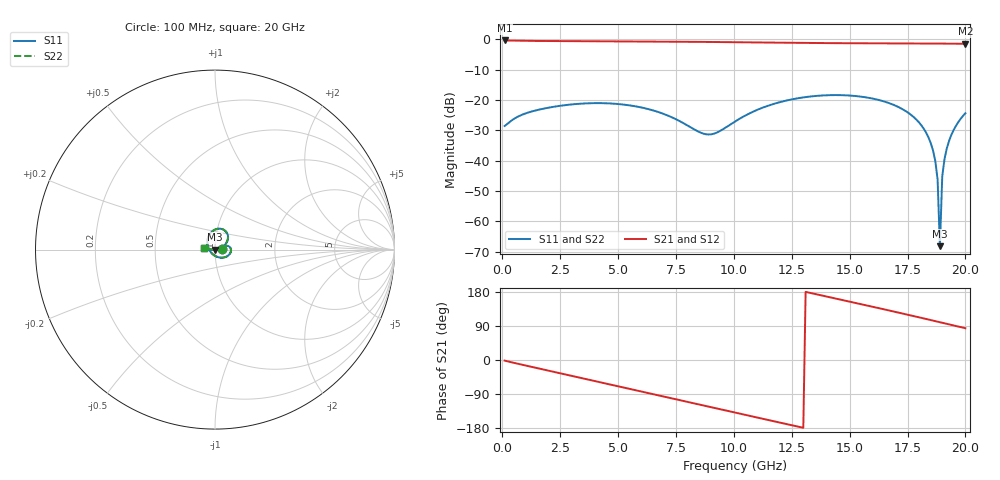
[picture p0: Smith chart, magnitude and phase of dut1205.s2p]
! Touchstone file exported from HFSS 2026.1.0
!  File:  C:/ffzhzh/LocalFiles/Ansys_Project_Files/temp_train_TSV_RDL_1205_1783318975_5512.aedt
!  Generated:  02:33:54 PM Jul  6, 2026
!  Design:  TSV_RDL
!  Project:  temp_train_TSV_RDL_1205_1783318975_5512
! Variables:
!  h_bsmrdl = 3.06um
!  h_ox = 20um
!  h_rdl = 5um
!  h_sub = 96.2um
!  h_tmrdl = 2um
!  h_tsv = 96.2um
!  h_via = 3um
!  l_bsmrdl = 811.05um
!  l_sub = 4017.81um
!  l_tmrdl = 270.89um
!  m_sub = 200um
!  pitch = 24.09um
!  r_tsv = 3.05um
!  s_tmrdl = 10um
!  w_bsmrdl = 22.29um
!  w_sub = 500um
!  w_tmrdl = 11.41um
!  x_tsv_center1 = 276.595um
!  x_tsv_center2 = 1109.935um
!  x_tsv_center3 = 1392.235um
!  x_tsv_center4 = 2225.575um
!  x_tsv_center5 = 2507.875um
!  x_tsv_center6 = 3341.215um
# GHz S MA R 50.000000
! Terminal data exported
! Port[1] = TM_RDL1_1_T1
! Port[2] = TM_RDL5_1_T1
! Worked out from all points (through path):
!   200 points, 100 MHz to 20 GHz, reference 50 ohm
!   highest |S21| = -0.33 dB at 100 MHz (marker M1); lowest = -1.4 dB at 20 GHz (marker M2)
!   group delay of S21, straight-line fit = 38.1 ps
!   lowest |S11| = -68.2 dB at 18.9 GHz (marker M3), VSWR 1.00, Z = 50 + j0.0234 ohm
!   |S11| at or under -10 dB: start of sweep to end of sweep
!   |S22| runs from -55.8 to -18.3 dB; largest |S21 - S12| = 1.1e-13
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0.1  0.03743 7.3  0.963 -1.6  0.963 -1.6  0.03743 7.3
! Gamma 0 0 0 0
! Port Impedance 50 0 50 0
1.2  0.06379 19.2  0.9472 -17.2  0.9472 -17.2  0.06379 19.2
3.5  0.08785 3.1  0.9356 -48.7  0.9356 -48.7  0.08786 3.1
5.2  0.0847 -17.9  0.929 -72.0  0.929 -72.0  0.08475 -18.0
6.8  0.06243 -45.6  0.9222 -94.0  0.9222 -94.0  0.06254 -45.7
8.8  0.02732 -129.1  0.9108 -121.6  0.9108 -121.6  0.02768 -129.0
9.3  0.02955 -166.8  0.9073 -128.5  0.9073 -128.5  0.02989 -166.4
10.1  0.04555 152.4  0.901 -139.4  0.901 -139.4  0.04577 153.0
11.6  0.08372 114.4  0.8883 -159.9  0.8883 -159.9  0.08383 114.9
13.4  0.1157 84.3  0.8743 175.7  0.8743 175.7  0.1158 84.8
15.2  0.1173 58.2  0.8654 151.4  0.8654 151.4  0.1173 58.8
16.7  0.08935 37.3  0.8618 130.8  0.8618 130.8  0.08932 38.1
17.8  0.05117 22.1  0.8596 115.4  0.8596 115.4  0.05112 23.5
18.2  0.03384 16.6  0.8585 109.7  0.8585 109.7  0.03379 18.9
18.5  0.01976 12.7  0.8575 105.5  0.8575 105.5  0.01973 16.5
18.7  0.009909 10.7  0.8567 102.6  0.8567 102.6  0.009934 18.3
18.8  0.004858 10.9  0.8563 101.2  0.8563 101.2  0.005005 26.1
18.9  0.0003901 143.2  0.8558 99.8  0.8558 99.8  0.001619 110.2
19  0.005504 -177.9  0.8553 98.3  0.8553 98.3  0.005818 169.3
19.1  0.01079 -177.9  0.8548 96.9  0.8548 96.9  0.011 175.3
19.4  0.02702 178.7  0.853 92.6  0.853 92.6  0.02718 176.0
20  0.0608 170.7  0.8484 83.9  0.8484 83.9  0.06095 169.5
